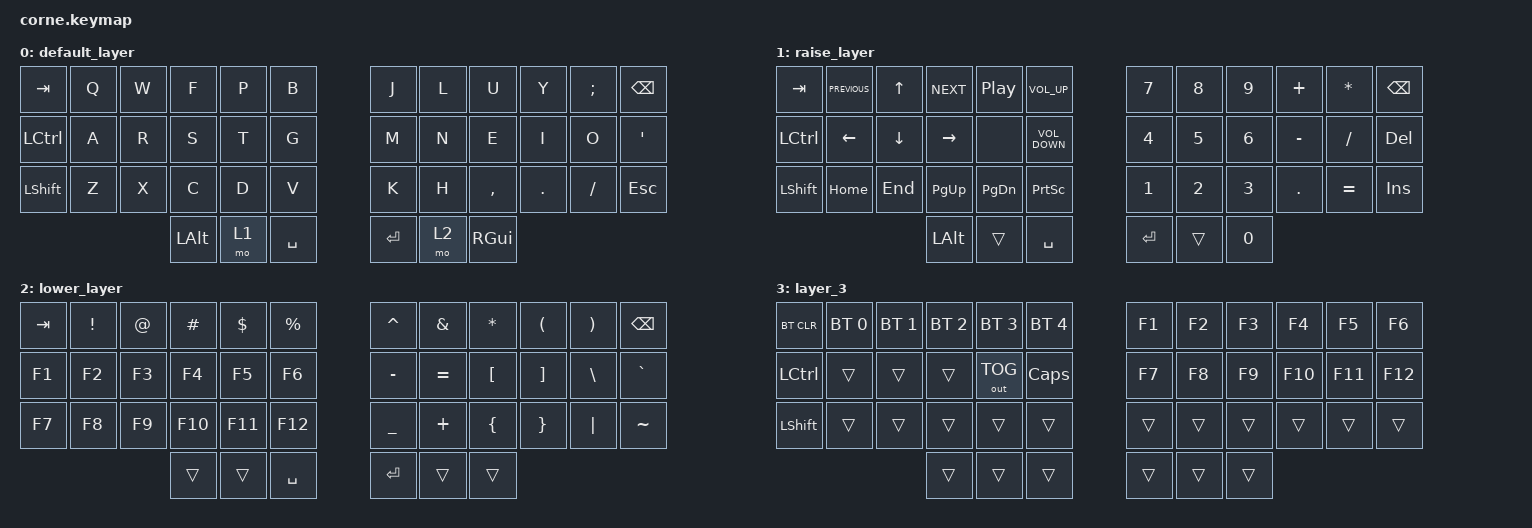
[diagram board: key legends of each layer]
/*
 * Copyright (c) 2020 The ZMK Contributors
 *
 * SPDX-License-Identifier: MIT
 */

#include <behaviors.dtsi>
#include <dt-bindings/zmk/keys.h>
#include <dt-bindings/zmk/bt.h>
#include <dt-bindings/zmk/outputs.h>

/ {
    conditional_layers {
        compatible = "zmk,conditional-layers";

        tri_layer {
            if-layers = <1 2>;
            then-layer = <3>;
        };
    };
};

/ {
    keymap {
        compatible = "zmk,keymap";

        default_layer {
            // -----------------------------------------------------------------------------------------
            // |  TAB |  Q  |  W  |  E  |  R  |  T  |   |  Y  |  U   |  I  |  O  |  P  | BKSP |
            // | CTRL |  A  |  S  |  D  |  F  |  G  |   |  H  |  J   |  K  |  L  |  ;  |  '   |
            // | SHFT |  Z  |  X  |  C  |  V  |  B  |   |  N  |  M   |  ,  |  .  |  /  | ESC  |
            //                    | GUI | LWR | SPC |   | ENT | RSE  | ALT |

            bindings = <
  &kp TAB  &kp Q  &kp W     &kp F  &kp P      &kp B      &kp J  &kp L          &kp U    &kp Y  &kp SEMICOLON  &kp BSPC
&kp LCTRL  &kp A  &kp R     &kp S  &kp T      &kp G      &kp M  &kp N          &kp E    &kp I          &kp O   &kp SQT
&kp LSHFT  &kp Z  &kp X     &kp C  &kp D      &kp V      &kp K  &kp H      &kp COMMA  &kp DOT       &kp FSLH   &kp ESC
                         &kp LALT  &mo 1  &kp SPACE    &kp RET  &mo 2  &kp RIGHT_GUI
            >;
        };

        raise_layer {
            // -----------------------------------------------------------------------------------------
            // |  TAB |  !  |  @  |  #  |  $  |  %  |   |  ^  |  &  |  *  |  (  |  )  | BKSP |
            // | CTRL |     |     |     |     |     |   |  -  |  =  |  [  |  ]  |  \  |  `   |
            // | SHFT |     |     |     |     |     |   |  _  |  +  |  {  |  }  | "|" |  ~   |
            //                    | GUI |     | SPC |   | ENT |     | ALT |

            bindings = <
  &kp TAB  &kp C_PREVIOUS    &kp UP_ARROW       &kp C_NEXT  &kp C_PLAY_PAUSE    &kp C_VOLUME_UP    &kp NUMBER_7  &kp NUMBER_8  &kp NUMBER_9    &kp PLUS  &kp ASTERISK    &kp BSPC
&kp LCTRL  &kp LEFT_ARROW  &kp DOWN_ARROW  &kp RIGHT_ARROW             &none  &kp C_VOLUME_DOWN    &kp NUMBER_4  &kp NUMBER_5  &kp NUMBER_6   &kp MINUS     &kp SLASH  &kp DELETE
&kp LSHFT        &kp HOME         &kp END        &kp PG_UP     &kp PAGE_DOWN    &kp PRINTSCREEN    &kp NUMBER_1  &kp NUMBER_2  &kp NUMBER_3  &kp PERIOD     &kp EQUAL     &kp INS
                                              &kp LEFT_ALT            &trans          &kp SPACE         &kp RET        &trans  &kp NUMBER_0
            >;
        };

        lower_layer {
            // -----------------------------------------------------------------------------------------
            // |  TAB |  1  |  2  |  3  |  4  |  5  |   |  6  |  7  |  8  |  9  |  0  | BKSP |
            // | BTCLR| BT1 | BT2 | BT3 | BT4 | BT5 |   | LFT | DWN |  UP | RGT |     |      |
            // | SHFT |     |     |     |     |     |   |     |     |     |     |     |      |
            //                    | GUI |     | SPC |   | ENT |     | ALT |

            bindings = <
&kp TAB  &kp EXCLAMATION  &kp AT_SIGN  &kp HASH  &kp DOLLAR  &kp PERCENT         &kp CARET  &kp AMPERSAND      &kp ASTERISK  &kp LEFT_PARENTHESIS  &kp RIGHT_PARENTHESIS   &kp BSPC
 &kp F1           &kp F2       &kp F3    &kp F4      &kp F5       &kp F6         &kp MINUS      &kp EQUAL  &kp LEFT_BRACKET     &kp RIGHT_BRACKET          &kp BACKSLASH  &kp GRAVE
 &kp F7           &kp F8       &kp F9   &kp F10     &kp F11      &kp F12    &kp UNDERSCORE       &kp PLUS    &kp LEFT_BRACE       &kp RIGHT_BRACE               &kp PIPE  &kp TILDE
                                         &trans      &trans    &kp SPACE           &kp RET         &trans            &trans
            >;
        };

        layer_3 {
            bindings = <
      &bt BT_CLR  &bt BT_SEL 0  &bt BT_SEL 1  &bt BT_SEL 2  &bt BT_SEL 3  &bt BT_SEL 4    &kp F1  &kp F2  &kp F3   &kp F4   &kp F5   &kp F6
&kp LEFT_CONTROL        &trans        &trans        &trans  &out OUT_TOG  &kp CAPSLOCK    &kp F7  &kp F8  &kp F9  &kp F10  &kp F11  &kp F12
      &kp LSHIFT        &trans        &trans        &trans        &trans        &trans    &trans  &trans  &trans   &trans   &trans   &trans
                                                    &trans        &trans        &trans    &trans  &trans  &trans
            >;
        };
    };
};
